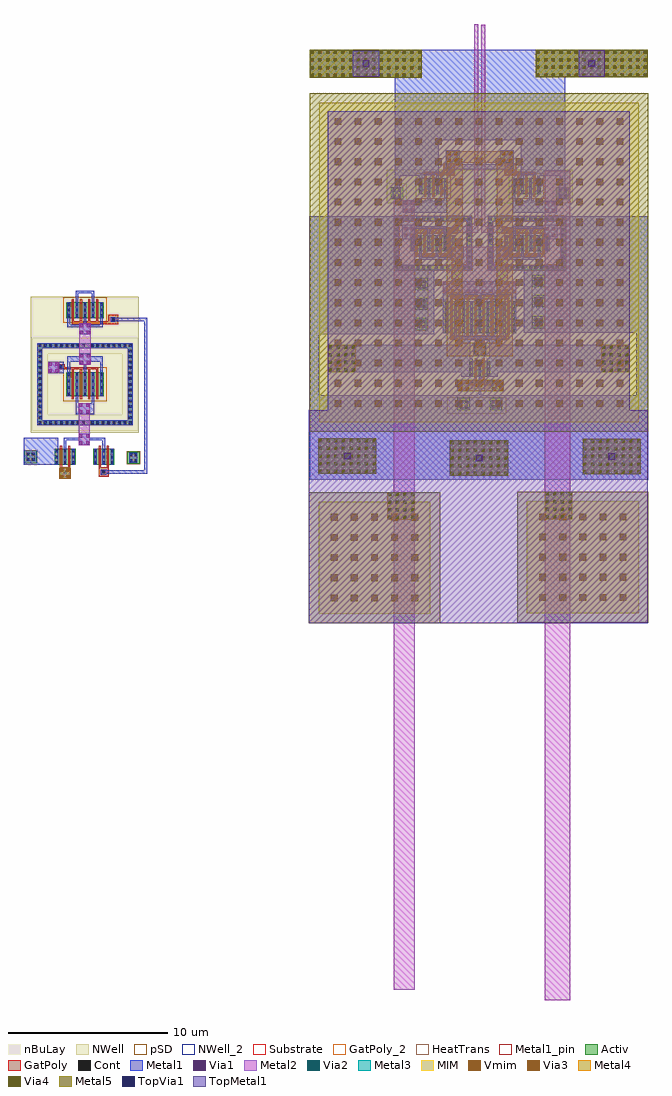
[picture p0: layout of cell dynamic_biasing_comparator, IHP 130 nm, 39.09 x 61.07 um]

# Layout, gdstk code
from math import pi, radians
import gdstk
lib = gdstk.Library(unit=1e-6, precision=1e-09)
def R(c, l, rs):  # rectangles x0, y0, x1, y1
    for r in rs: c.add(gdstk.rectangle(r[:2], r[2:], *l))
def A(c, l, x, y, w, h, nx, ny, dx, dy):  # array of equal rectangles
    R(c, l, [(x+i*dx, y+j*dy, x+i*dx+w, y+j*dy+h) for i in range(nx) for j in range(ny)])
def P(c, l, *ps):  # polygons
    for p in ps: c.add(gdstk.Polygon(p, *l))
Activ = (1, 0)
GatPoly = (5, 0)
GatPoly_2 = (5, 2)
Cont = (6, 0)
Metal1 = (8, 0)
Metal1_pin = (8, 2)
Metal2 = (10, 0)
pSD = (14, 0)
Via1 = (19, 0)
Via2 = (29, 0)
Metal3 = (30, 0)
NWell = (31, 0)
NWell_2 = (31, 2)
nBuLay = (32, 0)
MIM = (36, 0)
Substrate = (40, 0)
Via3 = (49, 0)
Metal4 = (50, 0)
HeatTrans = (51, 0)
Via4 = (66, 0)
Metal5 = (67, 0)
TopVia1 = (125, 0)
TopMetal1 = (126, 0)
Vmim = (129, 0)

cmim = lib.new_cell('cmim')
R(cmim, MIM, [(0,0,20,20)])
R(cmim, Metal5, [(-0.6,-0.6,20.6,20.6)])
R(cmim, TopMetal1, [(0.55,0.55,19.45,19.45)])
A(cmim, Vmim, 0.97, 0.97, 0.42, 0.42, 15, 15, 1.26, 1.26)

cmim_1 = lib.new_cell('cmim$1')
R(cmim_1, MIM, [(0,0,7,7)])
R(cmim_1, Metal5, [(-0.6,-0.6,7.6,7.6)])
R(cmim_1, TopMetal1, [(0.35,0.35,6.65,6.65)])
A(cmim_1, Vmim, 0.77, 0.77, 0.42, 0.42, 5, 5, 1.26, 1.26)

pmos = lib.new_cell('pmos')
A(pmos, Activ, 0, 0, 0.3, 0.3, 5, 1, 0.51, 0)
R(pmos, Activ, [(0,0,2.34,1)])
A(pmos, GatPoly, 0.34, -0.18, 0.13, 1.36, 4, 1, 0.51, 0)
R(pmos, GatPoly, [(0.34,-0.18,0.47,1.18)])
A(pmos, Cont, 0.07, 0.07, 0.16, 0.16, 5, 3, 0.51, 0.35)
A(pmos, Metal1, 0.58, 0, 0.16, 1, 4, 1, 0.51, 0)
R(pmos, Metal1, [(0.07,0,0.23,1), (0.07,0,0.23,1), (0.58,0,0.74,1)])
R(pmos, pSD, [(-0.18,-0.3,2.52,1.3)])
R(pmos, NWell, [(-0.31,-0.31,2.65,1.31)])
R(pmos, Substrate, [(2.04,0,2.34,0.3)])
A(pmos, HeatTrans, 0.34, -0.18, 0.13, 1.36, 4, 1, 0.51, 0)
pmos.add(gdstk.Label('pmos', (0.405,0.5), layer=63, texttype=0))
pmos.add(gdstk.Label('pmos', (0.405,0.5), layer=51, texttype=0))
pmos.add(gdstk.Label('pmos', (0.915,0.5), layer=51, texttype=0))
pmos.add(gdstk.Label('pmos', (1.425,0.5), layer=51, texttype=0))
pmos.add(gdstk.Label('pmos', (1.935,0.5), layer=51, texttype=0))

nmos_4 = lib.new_cell('nmos$4')
A(nmos_4, Activ, 0, 0, 0.3, 0.3, 9, 1, 0.51, 0)
R(nmos_4, Activ, [(0,0,4.38,2)])
A(nmos_4, GatPoly, 0.34, -0.18, 0.13, 2.36, 8, 1, 0.51, 0)
R(nmos_4, GatPoly_2, [(0.34,-0.18,0.47,2.18)])
A(nmos_4, Cont, 0.07, 0.07, 0.16, 0.16, 9, 6, 0.51, 0.34)
A(nmos_4, Metal1, 0.07, 0, 0.16, 2, 9, 1, 0.51, 0)
R(nmos_4, Metal1_pin, [(0.07,0,0.23,2), (0.58,0,0.74,2)])
A(nmos_4, HeatTrans, 0.34, -0.18, 0.13, 2.36, 8, 1, 0.51, 0)
nmos_4.add(gdstk.Label('nmos', (0.405,1), layer=63, texttype=0))
nmos_4.add(gdstk.Label('nmos', (0.405,1), layer=51, texttype=0))
nmos_4.add(gdstk.Label('nmos', (0.915,1), layer=51, texttype=0))
nmos_4.add(gdstk.Label('nmos', (1.425,1), layer=51, texttype=0))
nmos_4.add(gdstk.Label('nmos', (1.935,1), layer=51, texttype=0))
nmos_4.add(gdstk.Label('nmos', (2.445,1), layer=51, texttype=0))
nmos_4.add(gdstk.Label('nmos', (2.955,1), layer=51, texttype=0))
nmos_4.add(gdstk.Label('nmos', (3.465,1), layer=51, texttype=0))
nmos_4.add(gdstk.Label('nmos', (3.975,1), layer=51, texttype=0))

nmos_3 = lib.new_cell('nmos$3')
A(nmos_3, Activ, 0, 0, 0.3, 0.3, 6, 1, 0.51, 0)
R(nmos_3, Activ, [(-1,-0.88,-0.7,1.88), (3.55,-0.88,3.85,1.88), (0,0,2.85,1), (-1,1.88,3.85,2.18)])
P(nmos_3, Activ, [(-1,-1.18),(-1,1.88),(-0.7,1.88),(-0.7,-0.88),(3.55,-0.88),(3.55,1.88),(-1,1.88),(-1,2.18),(3.85,2.18),(3.85,-1.18)])
A(nmos_3, GatPoly, 0.34, -0.18, 0.13, 1.36, 5, 1, 0.51, 0)
R(nmos_3, GatPoly_2, [(0.34,-0.18,0.47,1.18)])
A(nmos_3, Cont, -0.93, -1.11, 0.16, 0.16, 7, 2, 0.34, 3.06)
A(nmos_3, Cont, 1.58, -1.11, 0.16, 0.16, 7, 2, 0.34, 3.06)
A(nmos_3, Cont, -0.93, -0.77, 0.16, 0.16, 1, 3, 0, 0.34)
A(nmos_3, Cont, 3.62, -0.77, 0.16, 0.16, 1, 3, 0, 0.34)
A(nmos_3, Cont, 0.07, 0.07, 0.16, 0.16, 6, 3, 0.51, 0.35)
A(nmos_3, Cont, -0.93, 0.59, 0.16, 0.16, 1, 4, 0, 0.34)
A(nmos_3, Cont, 3.62, 0.59, 0.16, 0.16, 1, 4, 0, 0.34)
A(nmos_3, Metal1, 0.07, 0, 0.16, 1, 6, 1, 0.51, 0)
R(nmos_3, Metal1, [(-1,-1.18,3.85,-0.88), (-1,-0.88,-0.7,1.88), (3.55,-0.88,3.85,1.88), (-1,1.88,3.85,2.18)])
R(nmos_3, Metal1_pin, [(0.07,0,0.23,1), (0.58,0,0.74,1)])
R(nmos_3, pSD, [(-1.03,-0.85,-0.67,1.85), (3.52,-0.85,3.88,1.85), (-1.03,1.85,3.88,2.21)])
P(nmos_3, pSD, [(-1.03,-1.21),(-1.03,1.85),(-0.67,1.85),(-0.67,-0.85),(3.52,-0.85),(3.52,1.85),(-1.03,1.85),(-1.03,2.21),(3.88,2.21),(3.88,-1.21)])
R(nmos_3, Substrate, [(-1.03,-0.85,-0.67,1.85), (3.52,-0.85,3.88,1.85), (-1.03,1.85,3.88,2.21)])
P(nmos_3, Substrate, [(-1.03,-1.21),(-1.03,1.85),(-0.67,1.85),(-0.67,-0.85),(3.52,-0.85),(3.52,1.85),(-1.03,1.85),(-1.03,2.21),(3.88,2.21),(3.88,-1.21)])
A(nmos_3, HeatTrans, 0.34, -0.18, 0.13, 1.36, 5, 1, 0.51, 0)
nmos_3.add(gdstk.Label('nmos', (0.405,0.5), layer=63, texttype=0))
nmos_3.add(gdstk.Label('sub!', (1.425,-1.03), layer=63, texttype=0))
nmos_3.add(gdstk.Label('nmos', (0.405,0.5), layer=51, texttype=0))
nmos_3.add(gdstk.Label('nmos', (0.915,0.5), layer=51, texttype=0))
nmos_3.add(gdstk.Label('nmos', (1.425,0.5), layer=51, texttype=0))
nmos_3.add(gdstk.Label('nmos', (1.935,0.5), layer=51, texttype=0))
nmos_3.add(gdstk.Label('nmos', (2.445,0.5), layer=51, texttype=0))

via_stack = lib.new_cell('via_stack')
R(via_stack, Metal1, [(-0.35,-0.35,0.35,0.35)])
R(via_stack, Metal2, [(-0.35,-0.35,0.35,0.35)])
R(via_stack, Via1, [(-0.3,-0.3,-0.11,-0.11), (0.11,-0.3,0.3,-0.11), (-0.3,0.11,-0.11,0.3), (0.11,0.11,0.3,0.3)])

ntap1 = lib.new_cell('ntap1')
R(ntap1, Activ, [(0,0,0.78,0.78)])
R(ntap1, Cont, [(0.14,0.14,0.3,0.3), (0.48,0.14,0.64,0.3), (0.14,0.48,0.3,0.64), (0.48,0.48,0.64,0.64)])
R(ntap1, Metal1, [(0.14,0.09,0.64,0.69)])
R(ntap1, Metal1_pin, [(0.14,0.09,0.64,0.69), (0.14,0.14,0.64,0.64)])
R(ntap1, NWell, [(-0.24,-0.24,1.02,1.02), (0,0,0.78,0.78)])
R(ntap1, NWell_2, [(0,0,0.78,0.78)])
R(ntap1, nBuLay, [(-0.24,-0.24,1.02,1.02)])
ntap1.add(gdstk.Label('well', (0.39,0.01), layer=31, texttype=0))
ntap1.add(gdstk.Label('well', (0.39,0.01), layer=63, texttype=0))

via_stack_8 = lib.new_cell('via_stack$8')
R(via_stack_8, Metal1, [(-0.35,-0.35,0.35,0.35)])
R(via_stack_8, Metal2, [(-0.35,-0.35,0.35,0.35)])
R(via_stack_8, Via1, [(-0.3,-0.3,-0.11,-0.11), (0.11,-0.3,0.3,-0.11), (-0.3,0.11,-0.11,0.3), (0.11,0.11,0.3,0.3)])
R(via_stack_8, Via2, [(-0.3,-0.3,-0.11,-0.11), (0.11,-0.3,0.3,-0.11), (-0.3,0.11,-0.11,0.3), (0.11,0.11,0.3,0.3)])
R(via_stack_8, Metal3, [(-0.35,-0.35,0.35,0.35)])
R(via_stack_8, Via3, [(-0.3,-0.3,-0.11,-0.11), (0.11,-0.3,0.3,-0.11), (-0.3,0.11,-0.11,0.3), (0.11,0.11,0.3,0.3)])
R(via_stack_8, Metal4, [(-0.35,-0.35,0.35,0.35)])

nmos = lib.new_cell('nmos')
A(nmos, Activ, 0, 0, 0.3, 0.3, 3, 1, 0.51, 0)
R(nmos, Activ, [(0,0,1.32,1)])
R(nmos, GatPoly, [(0.34,-0.18,0.47,1.18), (0.85,-0.18,0.98,1.18)])
R(nmos, GatPoly_2, [(0.34,-0.18,0.47,1.18)])
A(nmos, Cont, 0.07, 0.07, 0.16, 0.16, 3, 3, 0.51, 0.35)
A(nmos, Metal1, 0.07, 0, 0.16, 1, 3, 1, 0.51, 0)
R(nmos, Metal1_pin, [(0.07,0,0.23,1), (0.58,0,0.74,1)])
R(nmos, HeatTrans, [(0.34,-0.18,0.47,1.18), (0.85,-0.18,0.98,1.18)])
nmos.add(gdstk.Label('nmos', (0.405,0.5), layer=63, texttype=0))
nmos.add(gdstk.Label('nmos', (0.405,0.5), layer=51, texttype=0))
nmos.add(gdstk.Label('nmos', (0.915,0.5), layer=51, texttype=0))

via_stack_5 = lib.new_cell('via_stack$5')
R(via_stack_5, Metal1, [(-2.305,-0.385,2.305,0.385)])
R(via_stack_5, Metal2, [(-2.305,-0.385,2.305,0.385)])
A(via_stack_5, Via1, -2.255, -0.335, 0.19, 0.19, 10, 2, 0.48, 0.48)

via_stack_1 = lib.new_cell('via_stack$1')
R(via_stack_1, Metal1, [(-0.145,-0.145,0.145,0.145)])
R(via_stack_1, Metal2, [(-0.145,-0.145,0.145,0.145)])
R(via_stack_1, Via1, [(-0.095,-0.095,0.095,0.095)])

pmos_4 = lib.new_cell('pmos$4')
A(pmos_4, Activ, 0, 0, 0.3, 0.3, 4, 1, 0.51, 0)
R(pmos_4, Activ, [(0,0,1.83,1)])
A(pmos_4, GatPoly, 0.34, -0.18, 0.13, 1.36, 3, 1, 0.51, 0)
R(pmos_4, GatPoly, [(0.34,-0.18,0.47,1.18)])
A(pmos_4, Cont, 0.07, 0.07, 0.16, 0.16, 4, 3, 0.51, 0.35)
A(pmos_4, Metal1, 0.58, 0, 0.16, 1, 3, 1, 0.51, 0)
R(pmos_4, Metal1, [(0.07,0,0.23,1), (0.07,0,0.23,1), (0.58,0,0.74,1)])
R(pmos_4, pSD, [(-0.18,-0.3,2.01,1.3)])
R(pmos_4, NWell, [(-0.31,-0.31,2.14,1.31)])
R(pmos_4, Substrate, [(1.53,0,1.83,0.3)])
A(pmos_4, HeatTrans, 0.34, -0.18, 0.13, 1.36, 3, 1, 0.51, 0)
pmos_4.add(gdstk.Label('pmos', (0.405,0.5), layer=63, texttype=0))
pmos_4.add(gdstk.Label('pmos', (0.405,0.5), layer=51, texttype=0))
pmos_4.add(gdstk.Label('pmos', (0.915,0.5), layer=51, texttype=0))
pmos_4.add(gdstk.Label('pmos', (1.425,0.5), layer=51, texttype=0))

ptap1 = lib.new_cell('ptap1')
R(ptap1, Activ, [(0,0,0.78,0.78)])
R(ptap1, Cont, [(0.14,0.14,0.3,0.3), (0.48,0.14,0.64,0.3), (0.14,0.48,0.3,0.64), (0.48,0.48,0.64,0.64)])
R(ptap1, Metal1, [(0.14,0.09,0.64,0.69), (0.14,0.14,0.64,0.64)])
R(ptap1, Metal1_pin, [(0.14,0.14,0.64,0.64)])
R(ptap1, pSD, [(-0.03,-0.03,0.81,0.81)])
R(ptap1, Substrate, [(0,0,0.78,0.78)])
ptap1.add(gdstk.Label('sub!', (0.39,0.01), layer=63, texttype=0))
ptap1.add(gdstk.Label('sub!', (0.39,0.01), layer=40, texttype=0))

pmos_6 = lib.new_cell('pmos$6')
A(pmos_6, Activ, 0, 0, 0.3, 0.3, 5, 1, 0.51, 0)
R(pmos_6, Activ, [(-1.81,-1.51,-1.51,3.01), (3.85,-1.51,4.15,3.01), (0,0,2.34,1.5), (-1.81,3.01,4.15,3.31)])
P(pmos_6, Activ, [(-1.81,-1.81),(-1.81,3.01),(-1.51,3.01),(-1.51,-1.51),(3.85,-1.51),(3.85,3.01),(-1.81,3.01),(-1.81,3.31),(4.15,3.31),(4.15,-1.81)])
A(pmos_6, GatPoly, 0.34, -0.18, 0.13, 1.86, 4, 1, 0.51, 0)
R(pmos_6, GatPoly, [(0.34,-0.18,0.47,1.68)])
A(pmos_6, Cont, -1.74, -1.74, 0.16, 0.16, 8, 2, 0.34, 4.82)
A(pmos_6, Cont, 1.2, -1.74, 0.16, 0.16, 9, 2, 0.34, 4.82)
A(pmos_6, Cont, -1.74, -1.4, 0.16, 0.16, 1, 6, 0, 0.34)
A(pmos_6, Cont, 3.92, -1.4, 0.16, 0.16, 1, 6, 0, 0.34)
A(pmos_6, Cont, 0.07, 0.07, 0.16, 0.16, 5, 4, 0.51, 0.4)
A(pmos_6, Cont, -1.74, 0.7, 0.16, 0.16, 1, 7, 0, 0.34)
A(pmos_6, Cont, 3.92, 0.7, 0.16, 0.16, 1, 7, 0, 0.34)
A(pmos_6, Metal1, 0.58, 0, 0.16, 1.5, 4, 1, 0.51, 0)
R(pmos_6, Metal1, [(-1.81,-1.81,4.15,-1.51), (-1.81,-1.51,-1.51,3.01), (3.85,-1.51,4.15,3.01), (0.07,0,0.23,1.5), (0.07,0,0.23,1.5), (0.58,0,0.74,1.5), (-1.81,3.01,4.15,3.31)])
R(pmos_6, pSD, [(-0.18,-0.3,2.52,1.8)])
R(pmos_6, NWell, [(-2.05,-2.05,4.39,3.55), (-0.31,-0.31,2.65,1.81)])
R(pmos_6, nBuLay, [(-2.16,-1.16,-1.16,2.66), (3.5,-1.16,4.5,2.66), (-2.16,2.66,4.5,3.66)])
P(pmos_6, nBuLay, [(-2.16,-2.16),(-2.16,2.66),(-1.16,2.66),(-1.16,-1.16),(3.5,-1.16),(3.5,2.66),(-2.16,2.66),(-2.16,3.66),(4.5,3.66),(4.5,-2.16)])
R(pmos_6, Substrate, [(2.04,0,2.34,0.3)])
A(pmos_6, HeatTrans, 0.34, -0.18, 0.13, 1.86, 4, 1, 0.51, 0)
pmos_6.add(gdstk.Label('pmos', (0.405,0.75), layer=63, texttype=0))
pmos_6.add(gdstk.Label('well', (1.17,-1.66), layer=63, texttype=0))
pmos_6.add(gdstk.Label('pmos', (0.405,0.75), layer=51, texttype=0))
pmos_6.add(gdstk.Label('pmos', (0.915,0.75), layer=51, texttype=0))
pmos_6.add(gdstk.Label('pmos', (1.425,0.75), layer=51, texttype=0))
pmos_6.add(gdstk.Label('pmos', (1.935,0.75), layer=51, texttype=0))

via_stack_6 = lib.new_cell('via_stack$6')
R(via_stack_6, Metal1, [(-0.865,-0.865,0.865,0.865)])
R(via_stack_6, Metal2, [(-0.865,-0.865,0.865,0.865)])
A(via_stack_6, Via1, -0.815, -0.815, 0.19, 0.19, 4, 4, 0.48, 0.48)
A(via_stack_6, Via2, -0.815, -0.815, 0.19, 0.19, 4, 4, 0.48, 0.48)
R(via_stack_6, Metal3, [(-0.865,-0.865,0.865,0.865)])
A(via_stack_6, Via3, -0.815, -0.815, 0.19, 0.19, 4, 4, 0.48, 0.48)
R(via_stack_6, Metal4, [(-0.865,-0.865,0.865,0.865)])
A(via_stack_6, Via4, -0.815, -0.815, 0.19, 0.19, 4, 4, 0.48, 0.48)
R(via_stack_6, Metal5, [(-0.865,-0.865,0.865,0.865)])

nmos_7 = lib.new_cell('nmos$7')
A(nmos_7, Activ, 0, 0, 0.3, 0.3, 3, 1, 0.51, 0)
R(nmos_7, Activ, [(0,0,1.32,1)])
R(nmos_7, GatPoly, [(0.34,-0.18,0.47,1.18), (0.85,-0.18,0.98,1.18)])
R(nmos_7, GatPoly_2, [(0.34,-0.18,0.47,1.18)])
A(nmos_7, Cont, 0.07, 0.07, 0.16, 0.16, 3, 3, 0.51, 0.35)
A(nmos_7, Metal1, 0.07, 0, 0.16, 1, 3, 1, 0.51, 0)
R(nmos_7, Metal1_pin, [(0.07,0,0.23,1), (0.58,0,0.74,1)])
R(nmos_7, HeatTrans, [(0.34,-0.18,0.47,1.18), (0.85,-0.18,0.98,1.18)])
nmos_7.add(gdstk.Label('nmos', (0.405,0.5), layer=63, texttype=0))
nmos_7.add(gdstk.Label('nmos', (0.405,0.5), layer=51, texttype=0))
nmos_7.add(gdstk.Label('nmos', (0.915,0.5), layer=51, texttype=0))

via_stack_12 = lib.new_cell('via_stack$12')
R(via_stack_12, Metal1, [(-1.825,-1.105,1.825,1.105)])
R(via_stack_12, Metal2, [(-1.825,-1.105,1.825,1.105)])
A(via_stack_12, Via1, -1.775, -1.055, 0.19, 0.19, 8, 5, 0.48, 0.48)
A(via_stack_12, Via2, -1.775, -1.055, 0.19, 0.19, 8, 5, 0.48, 0.48)
R(via_stack_12, Metal3, [(-1.825,-1.105,1.825,1.105)])
A(via_stack_12, Via3, -1.775, -1.055, 0.19, 0.19, 8, 5, 0.48, 0.48)
R(via_stack_12, Metal4, [(-1.825,-1.105,1.825,1.105)])
A(via_stack_12, Via4, -1.775, -1.055, 0.19, 0.19, 8, 5, 0.48, 0.48)
R(via_stack_12, Metal5, [(-1.825,-1.105,1.825,1.105), (-0.31,-0.31,0.31,0.31)])
R(via_stack_12, TopVia1, [(-0.21,-0.21,0.21,0.21)])
R(via_stack_12, TopMetal1, [(-0.82,-0.82,0.82,0.82)])

via_stack_10 = lib.new_cell('via_stack$10')
R(via_stack_10, Metal1, [(-3.505,-0.865,3.505,0.865)])
R(via_stack_10, Metal2, [(-3.505,-0.865,3.505,0.865)])
A(via_stack_10, Via1, -3.455, -0.815, 0.19, 0.19, 15, 4, 0.48, 0.48)
A(via_stack_10, Via2, -3.455, -0.815, 0.19, 0.19, 15, 4, 0.48, 0.48)
R(via_stack_10, Metal3, [(-3.505,-0.865,3.505,0.865)])
A(via_stack_10, Via3, -3.455, -0.815, 0.19, 0.19, 15, 4, 0.48, 0.48)
R(via_stack_10, Metal4, [(-3.505,-0.865,3.505,0.865)])
A(via_stack_10, Via4, -3.455, -0.815, 0.19, 0.19, 15, 4, 0.48, 0.48)
R(via_stack_10, Metal5, [(-3.505,-0.865,3.505,0.865), (-0.31,-0.31,0.31,0.31)])
R(via_stack_10, TopVia1, [(-0.21,-0.21,0.21,0.21)])
R(via_stack_10, TopMetal1, [(-0.82,-0.82,0.82,0.82)])

via_stack_13 = lib.new_cell('via_stack$13')
R(via_stack_13, Metal2, [(-0.865,-0.865,0.865,0.865)])
A(via_stack_13, Via2, -0.815, -0.815, 0.19, 0.19, 4, 4, 0.48, 0.48)
R(via_stack_13, Metal3, [(-0.865,-0.865,0.865,0.865)])
A(via_stack_13, Via3, -0.815, -0.815, 0.19, 0.19, 4, 4, 0.48, 0.48)
R(via_stack_13, Metal4, [(-0.865,-0.865,0.865,0.865)])
A(via_stack_13, Via4, -0.815, -0.815, 0.19, 0.19, 4, 4, 0.48, 0.48)
R(via_stack_13, Metal5, [(-0.865,-0.865,0.865,0.865)])

dynamic_biasing_comparat = lib.new_cell('dynamic_biasing_comparator')
R(dynamic_biasing_comparat, GatPoly, [(-6.77,2.43,-6.13,3.01), (-9.19,2.445,-8.55,3.025), (16.365,8.17,16.89,8.5), (17.27,8.17,17.995,8.5), (16.93,10.41,17.25,10.73), (-8.45,11.975,-6.155,12.175), (-6.17,11.975,-5.53,12.555), (15.23,13.545,18.93,13.78), (13.055,16.21,15.225,16.41), (13.055,16.21,15.225,16.41), (13.055,16.21,15.225,16.41), (13.055,16.21,15.225,16.41), (18.935,16.21,21.105,16.41), (18.935,16.21,21.105,16.41), (18.935,16.21,21.105,16.41), (18.935,16.21,21.105,16.41), (13.055,17.62,15.72,18.01), (13.055,17.62,15.72,18.01), (13.055,17.62,15.72,18.01), (13.055,17.62,15.72,18.01), (18.44,17.62,21.105,18.01), (18.44,17.62,21.105,18.01), (18.44,17.62,21.105,18.01), (18.44,17.62,21.105,18.01), (15.4,17.74,15.72,18.06), (15.4,17.74,15.72,18.06), (15.4,17.74,15.72,18.06), (15.4,17.74,15.72,18.06), (18.44,17.74,18.76,18.06), (18.44,17.74,18.76,18.06), (18.44,17.74,18.76,18.06), (18.44,17.74,18.76,18.06), (13.595,21.3,15.515,21.51), (14.785,21.3,15.515,22.05), (18.645,21.3,20.565,21.51), (18.645,21.3,19.375,22.05), (14.965,21.66,15.285,21.98), (15.125,21.66,15.445,21.98), (18.89,21.66,19.21,21.98)])
P(dynamic_biasing_comparat, GatPoly, [(-9.33,9.15),(-9.33,9.465),(-8.895,9.465),(-8.895,9.29),(-6.79,9.29),(-6.79,9.15)],
  [(16.76,10.31),(16.76,11.005),(15.225,11.005),(15.225,11.24),(16.76,11.24),(16.76,11.285),(17.4,11.285),(17.4,11.24),(18.93,11.24),(18.93,11.005),(17.4,11.005),(17.4,10.31)])
R(dynamic_biasing_comparat, Cont, [(-6.53,2.65,-6.37,2.81), (-8.95,2.665,-8.79,2.825), (16.5,8.27,16.66,8.43), (17.51,8.27,17.67,8.43), (-9.21,9.235,-9.05,9.395), (17.01,10.49,17.17,10.65), (17.01,10.49,17.17,10.65), (17.01,10.49,17.17,10.65), (17.01,10.49,17.17,10.65), (-5.93,12.195,-5.77,12.355), (15.48,17.82,15.64,17.98), (15.48,17.82,15.64,17.98), (15.48,17.82,15.64,17.98), (15.48,17.82,15.64,17.98), (18.52,17.82,18.68,17.98), (18.52,17.82,18.68,17.98), (18.52,17.82,18.68,17.98), (18.52,17.82,18.68,17.98), (15.045,21.74,15.205,21.9), (18.97,21.74,19.13,21.9)])
R(dynamic_biasing_comparat, Metal1, [(-9.22,2.295,-8.52,2.995), (-11.465,3.175,-9.3,4.86), (15.68,7.795,16.78,8.5), (17.365,7.795,18.585,8.5), (-9.935,8.92,-8.96,9.62), (7.585,8.965,16.015,10.695), (16.67,10.005,17.485,10.78), (14.315,16.07,14.475,16.71), (14.315,16.07,14.475,16.71), (14.315,16.07,14.475,16.71), (14.315,16.07,14.475,16.71), (19.685,16.07,19.845,16.71), (19.685,16.07,19.845,16.71), (19.685,16.07,19.845,16.71), (19.685,16.07,19.845,16.71), (15.335,16.075,15.495,16.715), (15.335,16.075,15.495,16.715), (15.335,16.075,15.495,16.715), (15.335,16.075,15.495,16.715), (18.665,16.075,18.825,16.715), (18.665,16.075,18.825,16.715), (18.665,16.075,18.825,16.715), (18.665,16.075,18.825,16.715), (15.275,16.11,16.065,16.875), (15.275,16.11,16.065,16.875), (15.275,16.11,16.065,16.875), (15.275,16.11,16.065,16.875), (18.095,16.11,18.885,16.875), (18.095,16.11,18.885,16.875), (18.095,16.11,18.885,16.875), (18.095,16.11,18.885,16.875), (12.235,17.28,13.045,18.185), (12.235,17.28,13.045,18.185), (12.235,17.28,13.045,18.185), (12.235,17.28,13.045,18.185), (21.115,17.28,21.925,18.185), (21.115,17.28,21.925,18.185), (21.115,17.28,21.925,18.185), (21.115,17.28,21.925,18.185), (13.805,17.44,13.965,18.08), (13.805,17.44,13.965,18.08), (13.805,17.44,13.965,18.08), (13.805,17.44,13.965,18.08), (20.195,17.44,20.355,18.08), (20.195,17.44,20.355,18.08), (20.195,17.44,20.355,18.08), (20.195,17.44,20.355,18.08), (14.825,17.45,14.985,18.09), (14.825,17.45,14.985,18.09), (14.825,17.45,14.985,18.09), (14.825,17.45,14.985,18.09), (19.175,17.45,19.335,18.09), (19.175,17.45,19.335,18.09), (19.175,17.45,19.335,18.09), (19.175,17.45,19.335,18.09), (15.4,17.74,15.72,18.06), (15.4,17.74,15.72,18.06), (15.4,17.74,15.72,18.06), (15.4,17.74,15.72,18.06), (18.44,17.74,18.76,18.06), (18.44,17.74,18.76,18.06), (18.44,17.74,18.76,18.06), (18.44,17.74,18.76,18.06), (13.325,21.12,13.485,21.555), (14.345,21.12,14.505,21.555)])
P(dynamic_biasing_comparat, Metal1, [(-8.95,4.155),(-8.95,4.865),(-6.37,4.865),(-6.37,4.165),(-6.53,4.165),(-6.53,4.705),(-8.79,4.705),(-8.79,4.155)],
  [(-6.63,2.565),(-6.63,2.87),(-6.305,2.87),(-6.305,2.825),(-3.93,2.825),(-3.93,12.175),(-5.715,12.175),(-5.715,12.125),(-6.015,12.125),(-6.015,12.41),(-5.715,12.41),(-5.715,12.375),(-3.73,12.375),(-3.73,2.625),(-6.305,2.625),(-6.305,2.565)],
  [(-6.68,8.76),(-6.68,9.63),(-7.26,9.63),(-7.26,9.445),(-7.54,9.445),(-7.54,8.945),(-7.7,8.945),(-7.7,9.445),(-7.975,9.445),(-7.975,9.62),(-8.56,9.62),(-8.56,8.97),(-8.72,8.97),(-8.72,9.97),(-7.975,9.97),(-7.975,10.15),(-7.26,10.15),(-7.26,9.97),(-6.52,9.97),(-6.52,8.76)],
  [(-8.21,6.34),(-8.21,7.47),(-8.05,7.47),(-8.05,7.04),(-7.19,7.04),(-7.19,7.56),(-7.03,7.56),(-7.03,6.34)],
  [(-7.97,11.335),(-7.97,11.775),(-8.72,11.775),(-8.72,12.41),(-8.56,12.41),(-8.56,11.935),(-7.97,11.935),(-7.97,12.05),(-7.7,12.05),(-7.7,12.375),(-7.54,12.375),(-7.54,12.05),(-7.265,12.05),(-7.265,11.935),(-6.68,11.935),(-6.68,12.49),(-6.52,12.49),(-6.52,11.775),(-7.265,11.775),(-7.265,11.335)],
  [(-7.19,13.23),(-7.19,13.91),(-8.05,13.91),(-8.05,13.285),(-8.21,13.285),(-8.21,14.07),(-7.03,14.07),(-7.03,13.23)],
  [(15.92,8.68),(15.92,10.975),(15.47,10.975),(15.47,11.415),(15.63,11.415),(15.63,11.225),(16.49,11.225),(16.49,11.415),(16.65,11.415),(16.65,11.225),(17.51,11.225),(17.51,11.415),(17.67,11.415),(17.67,11.225),(18.53,11.225),(18.53,11.415),(18.69,11.415),(18.69,10.975),(18.2,10.975),(18.2,10.685),(26.42,10.685),(26.42,8.955),(18.2,8.955),(18.2,8.68),(17.625,8.68),(17.625,9.625),(17.505,9.625),(17.505,9.805),(17.685,9.805),(17.685,10.975),(16.47,10.975),(16.47,9.805),(16.645,9.805),(16.645,9.625),(16.52,9.625),(16.52,8.68)],
  [(6.43,2.245),(6.43,5.64),(6.415,5.64),(6.415,15.36),(6.41,15.36),(6.41,18.74),(11.85,18.74),(11.85,15.685),(14.215,15.685),(14.215,11.36),(7.025,11.36),(7.025,7.53),(17,7.53),(17,8.68),(17.16,8.68),(17.16,7.53),(26.885,7.53),(26.885,11.435),(19.82,11.435),(19.82,15.605),(22.285,15.605),(22.285,18.72),(27.625,18.72),(27.625,15.605),(27.63,15.605),(27.63,11.435),(27.625,11.435),(27.625,2.245)],
  [(11.745,20.47),(11.745,29.15),(14.505,29.15),(19.655,29.15),(22.415,29.15),(22.415,20.47),(22.095,20.47),(22.095,21.28),(20.835,21.28),(20.835,21.12),(20.675,21.12),(20.675,21.3),(19.815,21.3),(19.815,21.12),(19.655,21.12),(19.655,23.49),(14.505,23.49),(14.505,21.12),(14.345,21.12),(14.345,21.3),(13.485,21.3),(13.485,21.12),(13.325,21.12),(13.325,21.28),(12.065,21.28),(12.065,20.47)],
  [(12.26,18.95),(12.26,19.705),(13.835,19.705),(13.835,20.13),(13.995,20.13),(13.995,19.705),(14.855,19.705),(14.855,20.205),(15.015,20.205),(15.015,19.545),(15.015,18.95)],
  [(19.145,18.95),(19.145,19.545),(19.145,20.205),(19.305,20.205),(19.305,19.705),(20.165,19.705),(20.165,20.13),(20.325,20.13),(20.325,19.705),(21.9,19.705),(21.9,18.95)],
  [(14.955,21.66),(14.955,22.855),(15.815,22.855),(15.815,21.985),(18.35,21.985),(18.35,22.855),(19.205,22.855),(19.205,21.66)],
  [(14.765,11.415),(14.765,14.675),(19.375,14.675),(19.375,11.415),(19.2,11.415),(19.2,13.39),(19.04,13.39),(19.04,13.805),(18.18,13.805),(18.18,13.39),(18.02,13.39),(18.02,13.805),(17.16,13.805),(17.16,13.39),(17,13.39),(17,13.805),(16.14,13.805),(16.14,13.39),(15.98,13.39),(15.98,13.805),(15.12,13.805),(15.12,13.39),(14.96,13.39),(14.96,11.415)],
  [(13.295,15.995),(13.295,16.715),(13.455,16.715),(13.455,16.155),(15.495,16.155),(15.495,15.995)],
  [(12.785,17.39),(12.785,18.11),(14.985,18.11),(14.985,17.95),(12.945,17.95),(12.945,17.39)],
  [(13.295,15.995),(13.295,16.715),(13.455,16.715),(13.455,16.155),(15.495,16.155),(15.495,15.995)],
  [(12.785,17.39),(12.785,18.11),(14.985,18.11),(14.985,17.95),(12.945,17.95),(12.945,17.39)],
  [(12.785,17.39),(12.785,18.11),(14.985,18.11),(14.985,17.95),(12.945,17.95),(12.945,17.39)],
  [(13.295,15.995),(13.295,16.715),(13.455,16.715),(13.455,16.155),(15.495,16.155),(15.495,15.995)],
  [(18.665,15.995),(18.665,16.155),(20.705,16.155),(20.705,16.715),(20.865,16.715),(20.865,15.995)],
  [(21.215,17.39),(21.215,17.95),(19.175,17.95),(19.175,18.11),(21.375,18.11),(21.375,17.39)],
  [(18.665,15.995),(18.665,16.155),(20.705,16.155),(20.705,16.715),(20.865,16.715),(20.865,15.995)],
  [(21.215,17.39),(21.215,17.95),(19.175,17.95),(19.175,18.11),(21.375,18.11),(21.375,17.39)],
  [(21.215,17.39),(21.215,17.95),(19.175,17.95),(19.175,18.11),(21.375,18.11),(21.375,17.39)],
  [(18.665,15.995),(18.665,16.155),(20.705,16.155),(20.705,16.715),(20.865,16.715),(20.865,15.995)],
  [(21.215,17.39),(21.215,17.95),(19.175,17.95),(19.175,18.11),(21.375,18.11),(21.375,17.39)],
  [(18.665,15.995),(18.665,16.155),(20.705,16.155),(20.705,16.715),(20.865,16.715),(20.865,15.995)],
  [(12.785,17.39),(12.785,18.11),(14.985,18.11),(14.985,17.95),(12.945,17.95),(12.945,17.39)],
  [(13.295,15.995),(13.295,16.715),(13.455,16.715),(13.455,16.155),(15.495,16.155),(15.495,15.995)])
R(dynamic_biasing_comparat, Metal2, [(21.145,-30.31,22.745,21.57), (11.685,-29.68,13.02,19.74), (-8.02,4.415,-7.32,7.04), (-7.97,9.45,-7.26,12.05), (12.23,17.295,13.02,19.74), (12.23,17.295,13.02,19.74), (12.23,17.295,13.02,19.74), (21.14,17.295,21.93,19.74), (21.14,17.295,21.93,19.74), (21.14,17.295,21.93,19.74), (15.365,17.71,16.975,18.09), (16.745,18.03,16.975,30.76), (17.185,18.03,17.415,30.72)])
P(dynamic_biasing_comparat, Metal2, [(17.185,17.71),(17.185,17.98),(17.185,18.09),(18.79,18.09),(18.79,17.71)],
  [(15.315,14.575),(15.315,16.83),(15.325,16.83),(15.325,16.835),(18.835,16.835),(18.835,16.135),(18.83,16.135),(18.83,14.575)])
R(dynamic_biasing_comparat, pSD, [(15.05,6.385,18.735,7.415), (12.995,11.575,13.87,15.54), (20.325,11.685,21.17,15.535)])
R(dynamic_biasing_comparat, NWell, [(-11.03,5.185,-4.25,13.68), (11.265,19.535,22.895,21.635)])
R(dynamic_biasing_comparat, Metal4, [(15.735,7.795,18.54,8.495), (15.525,9.97,18.595,10.83), (15.02,22.08,19.14,22.8)])
R(dynamic_biasing_comparat, TopMetal1, [(6.39,-6.725,27.59,6.6)])
dynamic_biasing_comparat.add(gdstk.FlexPath([(15.52,22.08),(15.52,9.965)], 1, ends="flush", simple_path=True, layer=50, datatype=0))  # Metal4
dynamic_biasing_comparat.add(gdstk.FlexPath([(18.64,22.08),(18.64,9.965)], 1, ends="flush", simple_path=True, layer=50, datatype=0))  # Metal4
dynamic_biasing_comparat.add(gdstk.Reference(cmim, (7.025,5.84)))
dynamic_biasing_comparat.add(gdstk.Reference(cmim_1, (20.025,-6.1)))
dynamic_biasing_comparat.add(gdstk.Reference(pmos, (-6.45,13.355), rotation=pi))
dynamic_biasing_comparat.add(gdstk.Reference(nmos_4, (14.89,11.415)))
dynamic_biasing_comparat.add(gdstk.Reference(nmos_3, (21.445,16.54), rotation=pi, x_reflection=True))
dynamic_biasing_comparat.add(gdstk.Reference(via_stack, (21.515,17.735), x_reflection=True))
dynamic_biasing_comparat.add(gdstk.Reference(ntap1, (21.875,20.56), x_reflection=True))
dynamic_biasing_comparat.add(gdstk.Reference(via_stack_8, (18.19,8.145), rotation=pi))
dynamic_biasing_comparat.add(gdstk.Reference(via_stack, (21.515,19.325), x_reflection=True))
dynamic_biasing_comparat.add(gdstk.Reference(via_stack, (21.515,19.325), x_reflection=True))
dynamic_biasing_comparat.add(gdstk.Reference(ntap1, (21.875,20.56), x_reflection=True))
dynamic_biasing_comparat.add(gdstk.Reference(via_stack, (21.515,17.735), x_reflection=True))
dynamic_biasing_comparat.add(gdstk.Reference(nmos, (16.42,8.68)))
dynamic_biasing_comparat.add(gdstk.Reference(via_stack_8, (16.085,8.145), rotation=pi))
dynamic_biasing_comparat.add(gdstk.Reference(nmos_3, (21.445,16.54), rotation=pi, x_reflection=True))
dynamic_biasing_comparat.add(gdstk.Reference(nmos_3, (21.445,16.54), rotation=pi, x_reflection=True))
dynamic_biasing_comparat.add(gdstk.Reference(via_stack, (21.515,17.735), x_reflection=True))
dynamic_biasing_comparat.add(gdstk.Reference(ntap1, (21.875,20.56), x_reflection=True))
dynamic_biasing_comparat.add(gdstk.Reference(via_stack, (21.515,19.325), x_reflection=True))
dynamic_biasing_comparat.add(gdstk.Reference(via_stack, (21.515,19.325), x_reflection=True))
dynamic_biasing_comparat.add(gdstk.Reference(ntap1, (21.875,20.56), x_reflection=True))
dynamic_biasing_comparat.add(gdstk.Reference(via_stack, (21.515,17.735), x_reflection=True))
dynamic_biasing_comparat.add(gdstk.Reference(nmos_3, (21.445,16.54), rotation=pi, x_reflection=True))
dynamic_biasing_comparat.add(gdstk.Reference(via_stack_5, (17.07,14.29), rotation=pi))
dynamic_biasing_comparat.add(gdstk.Reference(ntap1, (12.285,20.56), rotation=pi))
dynamic_biasing_comparat.add(gdstk.Reference(via_stack_1, (15.56,17.905), rotation=pi))
dynamic_biasing_comparat.add(gdstk.Reference(via_stack, (15.675,16.485), rotation=pi))
dynamic_biasing_comparat.add(gdstk.Reference(via_stack, (12.645,17.735), rotation=pi))
dynamic_biasing_comparat.add(gdstk.Reference(nmos_3, (12.715,16.54)))
dynamic_biasing_comparat.add(gdstk.Reference(via_stack_8, (15.37,22.45), rotation=pi))
dynamic_biasing_comparat.add(gdstk.Reference(via_stack_1, (15.56,17.905), rotation=pi))
dynamic_biasing_comparat.add(gdstk.Reference(ntap1, (12.285,20.56), rotation=pi))
dynamic_biasing_comparat.add(gdstk.Reference(via_stack, (18.485,16.485), x_reflection=True))
dynamic_biasing_comparat.add(gdstk.Reference(via_stack_1, (18.6,17.905), x_reflection=True))
dynamic_biasing_comparat.add(gdstk.Reference(pmos_4, (13.255,20.12)))
dynamic_biasing_comparat.add(gdstk.Reference(via_stack, (12.645,19.325), rotation=pi))
dynamic_biasing_comparat.add(gdstk.Reference(via_stack, (12.645,19.325), rotation=pi))
dynamic_biasing_comparat.add(gdstk.Reference(pmos_4, (13.255,20.12)))
dynamic_biasing_comparat.add(gdstk.Reference(pmos_4, (20.905,20.12), rotation=pi, x_reflection=True))
dynamic_biasing_comparat.add(gdstk.Reference(via_stack_8, (17.09,10.385), rotation=pi))
dynamic_biasing_comparat.add(gdstk.Reference(pmos_4, (20.905,20.12), rotation=pi, x_reflection=True))
dynamic_biasing_comparat.add(gdstk.Reference(nmos_3, (12.715,16.54)))
dynamic_biasing_comparat.add(gdstk.Reference(ntap1, (12.285,20.56), rotation=pi))
dynamic_biasing_comparat.add(gdstk.Reference(via_stack_1, (15.56,17.905), rotation=pi))
dynamic_biasing_comparat.add(gdstk.Reference(via_stack_1, (18.6,17.905), x_reflection=True))
dynamic_biasing_comparat.add(gdstk.Reference(via_stack, (18.485,16.485), x_reflection=True))
dynamic_biasing_comparat.add(gdstk.Reference(via_stack, (15.675,16.485), rotation=pi))
dynamic_biasing_comparat.add(gdstk.Reference(via_stack, (12.645,17.735), rotation=pi))
dynamic_biasing_comparat.add(gdstk.Reference(via_stack_8, (18.79,22.43), rotation=pi))
dynamic_biasing_comparat.add(gdstk.Reference(nmos_3, (12.715,16.54)))
dynamic_biasing_comparat.add(gdstk.Reference(via_stack, (12.645,17.735), rotation=pi))
dynamic_biasing_comparat.add(gdstk.Reference(via_stack, (15.675,16.485), rotation=pi))
dynamic_biasing_comparat.add(gdstk.Reference(via_stack, (18.485,16.485), x_reflection=True))
dynamic_biasing_comparat.add(gdstk.Reference(via_stack_1, (18.6,17.905), x_reflection=True))
dynamic_biasing_comparat.add(gdstk.Reference(nmos_3, (12.715,16.54)))
dynamic_biasing_comparat.add(gdstk.Reference(via_stack, (12.645,17.735), rotation=pi))
dynamic_biasing_comparat.add(gdstk.Reference(via_stack, (15.675,16.485), rotation=pi))
dynamic_biasing_comparat.add(gdstk.Reference(pmos_4, (20.905,20.12), rotation=pi, x_reflection=True))
dynamic_biasing_comparat.add(gdstk.Reference(via_stack_1, (15.56,17.905), rotation=pi))
dynamic_biasing_comparat.add(gdstk.Reference(pmos_4, (20.905,20.12), rotation=pi, x_reflection=True))
dynamic_biasing_comparat.add(gdstk.Reference(ntap1, (12.285,20.56), rotation=pi))
dynamic_biasing_comparat.add(gdstk.Reference(pmos_4, (13.255,20.12)))
dynamic_biasing_comparat.add(gdstk.Reference(via_stack, (12.645,19.325), rotation=pi))
dynamic_biasing_comparat.add(gdstk.Reference(via_stack_1, (18.6,17.905), x_reflection=True))
dynamic_biasing_comparat.add(gdstk.Reference(via_stack, (18.485,16.485), x_reflection=True))
dynamic_biasing_comparat.add(gdstk.Reference(via_stack, (12.645,19.325), rotation=pi))
dynamic_biasing_comparat.add(gdstk.Reference(pmos_4, (13.255,20.12)))
dynamic_biasing_comparat.add(gdstk.Reference(ptap1, (-10.64,4.07), rotation=pi))
dynamic_biasing_comparat.add(gdstk.Reference(via_stack, (-7.615,11.685), rotation=pi))
dynamic_biasing_comparat.add(gdstk.Reference(pmos_6, (-6.45,8.97), rotation=pi))
dynamic_biasing_comparat.add(gdstk.Reference(via_stack_6, (8.45,9.83), rotation=pi))
dynamic_biasing_comparat.add(gdstk.Reference(ptap1, (-4.2,4.01), rotation=pi))
dynamic_biasing_comparat.add(gdstk.Reference(cmim_1, (6.99,-6.13)))
dynamic_biasing_comparat.add(gdstk.Reference(nmos_7, (-8.21,4.18), rotation=pi))
dynamic_biasing_comparat.add(gdstk.Reference(via_stack_6, (25.555,9.82), rotation=pi))
dynamic_biasing_comparat.add(gdstk.Reference(via_stack_12, (8.785,3.725), rotation=pi))
dynamic_biasing_comparat.add(gdstk.Reference(via_stack_10, (24.08,28.285), rotation=pi))
dynamic_biasing_comparat.add(gdstk.Reference(via_stack_10, (9.955,28.27), rotation=pi))
dynamic_biasing_comparat.add(gdstk.Reference(via_stack_13, (12.155,0.605), rotation=pi))
dynamic_biasing_comparat.add(gdstk.Reference(via_stack_13, (22.01,0.635), rotation=pi))
dynamic_biasing_comparat.add(gdstk.Reference(via_stack_12, (25.34,3.705), rotation=pi))
dynamic_biasing_comparat.add(gdstk.Reference(via_stack_12, (17.04,3.605), rotation=pi))
dynamic_biasing_comparat.add(gdstk.Reference(ptap1, (16.46,7.365), rotation=pi))
dynamic_biasing_comparat.add(gdstk.Reference(ptap1, (18.48,7.37), rotation=pi))
dynamic_biasing_comparat.add(gdstk.Reference(ptap1, (13.825,14.88), rotation=pi))
dynamic_biasing_comparat.add(gdstk.Reference(ptap1, (13.8,13.645), rotation=pi))
dynamic_biasing_comparat.add(gdstk.Reference(ptap1, (13.795,12.38), rotation=pi))
dynamic_biasing_comparat.add(gdstk.Reference(ptap1, (21.15,12.5), rotation=pi))
dynamic_biasing_comparat.add(gdstk.Reference(ptap1, (21.145,13.805), rotation=pi))
dynamic_biasing_comparat.add(gdstk.Reference(ptap1, (21.135,15.055), rotation=pi))
dynamic_biasing_comparat.add(gdstk.Reference(nmos_7, (-5.79,4.18), rotation=pi))
dynamic_biasing_comparat.add(gdstk.Reference(via_stack, (-9.585,9.27), rotation=pi))
dynamic_biasing_comparat.add(gdstk.Reference(via_stack, (-7.61,9.795), rotation=pi))
dynamic_biasing_comparat.add(gdstk.Reference(via_stack, (-7.67,6.69), rotation=pi))
dynamic_biasing_comparat.add(gdstk.Reference(via_stack, (-7.67,4.765), rotation=pi))
dynamic_biasing_comparat.add(gdstk.Reference(via_stack_8, (-8.87,2.645), rotation=pi))

lib.write_gds('dynamic_biasing_comparator.gds')
